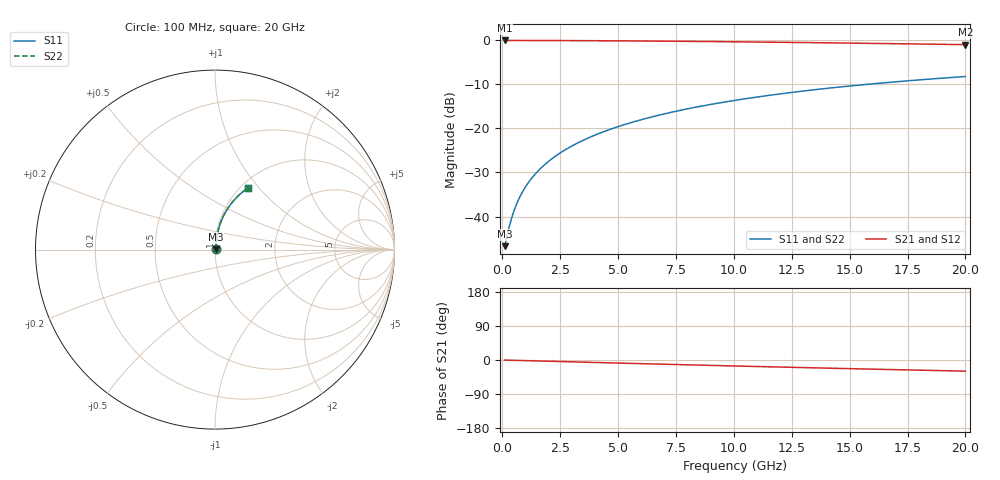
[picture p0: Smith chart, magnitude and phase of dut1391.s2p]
! Touchstone file exported from HFSS 2024.1.0
!  File:  C:/UserFiles/LocalFiles/RDL_TSV_Batchsim/temp_RDL_bottom_1391_1780372037.aedt
!  Generated:  11:49:58 AM Jun  2, 2026
!  Design:  RDL_bottom
!  Project:  temp_RDL_bottom_1391_1780372037
!  Setup:  Setup1
!  Solution:  Sweep
! Variables:
!  dtsv = 10.80580581um
!  hbump = 3um
!  htsv = 68.07um
!  ldown = 303.3um
!  lrdl = 100um
!  p = 40
!  p1 = 55.72um
!  rhole = 1um
!  t = 450um
!  tdown = 2.56um
!  trdl = 3.915915916um
!  wdown = 10.68um
!  wrdl = 20um
# GHz S MA R 50.000000
! Terminal data exported
! Port[1] = RDL1_T1
! Port[2] = RDL1_T2
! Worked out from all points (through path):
!   200 points, 100 MHz to 20 GHz, reference 50 ohm
!   highest |S21| = -0.04 dB at 100 MHz (marker M1); lowest = -1.0 dB at 20 GHz (marker M2)
!   group delay of S21, straight-line fit = 4.09 ps
!   lowest |S11| = -46.7 dB at 100 MHz (marker M3), VSWR 1.01, Z = 50.4 + j0.217 ohm
!   |S11| at or under -10 dB: start of sweep to 15.74 GHz
!   |S22| runs from -46.7 to -8.2 dB; largest |S21 - S12| = 3.1e-15
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0.1  0.004613 27.8  0.9959 -0.2  0.9959 -0.2  0.004613 27.8
! Gamma 0 0 0 0
! Port Impedance 50 0 50 0
0.3  0.007669 57.0  0.9958 -0.5  0.9958 -0.5  0.007669 57.0
0.4  0.009554 63.6  0.9958 -0.7  0.9958 -0.7  0.009554 63.6
0.5  0.01152 67.9  0.9957 -0.8  0.9957 -0.8  0.01152 67.9
0.6  0.01352 70.9  0.9956 -1.0  0.9956 -1.0  0.01352 70.9
0.7  0.01554 73.0  0.9955 -1.2  0.9955 -1.2  0.01554 73.0
0.9  0.01962 76.0  0.9953 -1.5  0.9953 -1.5  0.01962 76.0
1.2  0.02579 78.5  0.9949 -2.0  0.9949 -2.0  0.02579 78.5
1.4  0.02991 79.5  0.9947 -2.3  0.9947 -2.3  0.02991 79.5
1.7  0.03612 80.6  0.9943 -2.8  0.9943 -2.8  0.03612 80.6
2.2  0.0465 81.5  0.9934 -3.6  0.9934 -3.6  0.0465 81.5
2.8  0.05897 81.8  0.9922 -4.6  0.9922 -4.6  0.05897 81.8
3.5  0.07355 81.8  0.9905 -5.7  0.9905 -5.7  0.07355 81.8
4.2  0.08813 81.4  0.9885 -6.8  0.9885 -6.8  0.08813 81.4
5  0.1048 80.8  0.9859 -8.1  0.9859 -8.1  0.1048 80.8
5.9  0.1235 79.9  0.9824 -9.5  0.9824 -9.5  0.1235 79.9
6.8  0.1421 79.0  0.9786 -10.9  0.9786 -10.9  0.1421 79.0
8.3  0.173 77.2  0.9713 -13.2  0.9713 -13.2  0.173 77.2
10.1  0.2093 74.9  0.9614 -15.9  0.9614 -15.9  0.2093 74.9
13.4  0.2734 70.5  0.9407 -20.6  0.9407 -20.6  0.2734 70.5
16.7  0.3331 66.1  0.9175 -25.1  0.9175 -25.1  0.3331 66.1
20  0.3881 61.9  0.8927 -29.4  0.8927 -29.4  0.3881 61.9
